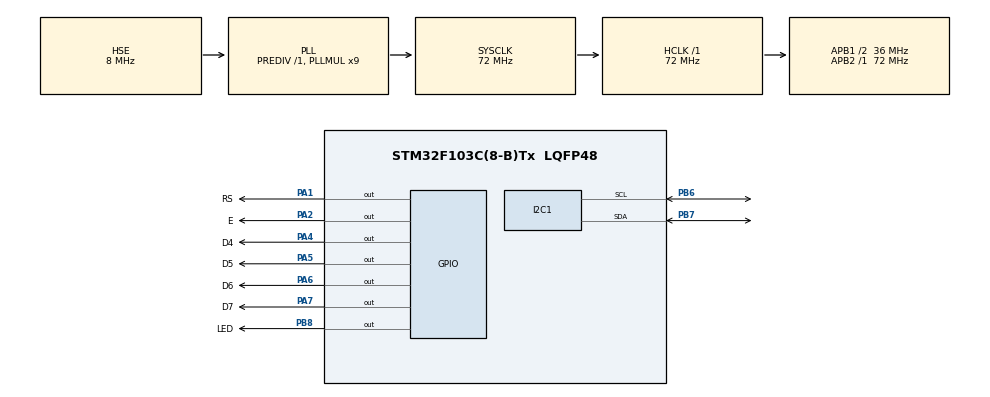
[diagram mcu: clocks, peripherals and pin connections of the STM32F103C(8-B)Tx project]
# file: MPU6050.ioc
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I2C1.I2C_Mode=I2C_Fast
Mcu.Family=STM32F1
Mcu.Name=STM32F103C(8-B)Tx
Mcu.Package=LQFP48
NVIC.PriorityGroup=NVIC_PRIORITYGROUP_4
PA1.GPIO_Label=RS
PA1.Signal=GPIO_Output
PA13.Mode=Serial_Wire
PA13.Signal=SYS_JTMS-SWDIO
PA14.Mode=Serial_Wire
PA14.Signal=SYS_JTCK-SWCLK
PA2.GPIO_Label=E
PA2.Signal=GPIO_Output
PA4.GPIO_Label=D4
PA4.Signal=GPIO_Output
PA5.GPIO_Label=D5
PA5.Signal=GPIO_Output
PA6.GPIO_Label=D6
PA6.Signal=GPIO_Output
PA7.GPIO_Label=D7
PA7.Signal=GPIO_Output
PB6.Mode=I2C
PB6.Signal=I2C1_SCL
PB7.Mode=I2C
PB7.Signal=I2C1_SDA
PB8.GPIO_Label=LED
PB8.Signal=GPIO_Output
PD0-OSC_IN.Mode=HSE-External-Oscillator
PD0-OSC_IN.Signal=RCC_OSC_IN
PD1-OSC_OUT.Mode=HSE-External-Oscillator
PD1-OSC_OUT.Signal=RCC_OSC_OUT
ProjectManager.HeapSize=0x200
ProjectManager.StackSize=0x400
ProjectManager.TargetToolchain=MDK-ARM V5
RCC.AHBFreq_Value=72000000
RCC.APB1CLKDivider=RCC_HCLK_DIV2
RCC.APB1Freq_Value=36000000
RCC.APB1TimFreq_Value=72000000
RCC.APB2Freq_Value=72000000
RCC.APB2TimFreq_Value=72000000
RCC.HCLKFreq_Value=72000000
RCC.PLLMUL=RCC_PLL_MUL9
RCC.PLLSourceVirtual=RCC_PLLSOURCE_HSE
RCC.SYSCLKFreq_VALUE=72000000
RCC.SYSCLKSource=RCC_SYSCLKSOURCE_PLLCLK
RCC.USBFreq_Value=72000000
board=MPU6050

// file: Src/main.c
/**
  ******************************************************************************
  * File Name          : main.c
  * Description        : Main program body
  ******************************************************************************
  ** This notice applies to any and all portions of this file
  * that are not between comment pairs USER CODE BEGIN and
  * USER CODE END. Other portions of this file, whether
  * inserted by the user or by software development tools
  * are owned by their respective copyright owners.
  *
  * COPYRIGHT(c) 2018 STMicroelectronics
  *
  * Redistribution and use in source and binary forms, with or without modification,
  * are permitted provided that the following conditions are met:
  *   1. Redistributions of source code must retain the above copyright notice,
  *      this list of conditions and the following disclaimer.
  *   2. Redistributions in binary form must reproduce the above copyright notice,
  *      this list of conditions and the following disclaimer in the documentation
  *      and/or other materials provided with the distribution.
  *   3. Neither the name of STMicroelectronics nor the names of its contributors
  *      may be used to endorse or promote products derived from this software
  *      without specific prior written permission.
  *
  * THIS SOFTWARE IS PROVIDED BY THE COPYRIGHT HOLDERS AND CONTRIBUTORS "AS IS"
  * AND ANY EXPRESS OR IMPLIED WARRANTIES, INCLUDING, BUT NOT LIMITED TO, THE
  * IMPLIED WARRANTIES OF MERCHANTABILITY AND FITNESS FOR A PARTICULAR PURPOSE ARE
  * DISCLAIMED. IN NO EVENT SHALL THE COPYRIGHT HOLDER OR CONTRIBUTORS BE LIABLE
  * FOR ANY DIRECT, INDIRECT, INCIDENTAL, SPECIAL, EXEMPLARY, OR CONSEQUENTIAL
  * DAMAGES (INCLUDING, BUT NOT LIMITED TO, PROCUREMENT OF SUBSTITUTE GOODS OR
  * SERVICES; LOSS OF USE, DATA, OR PROFITS; OR BUSINESS INTERRUPTION) HOWEVER
  * CAUSED AND ON ANY THEORY OF LIABILITY, WHETHER IN CONTRACT, STRICT LIABILITY,
  * OR TORT (INCLUDING NEGLIGENCE OR OTHERWISE) ARISING IN ANY WAY OUT OF THE USE
  * OF THIS SOFTWARE, EVEN IF ADVISED OF THE POSSIBILITY OF SUCH DAMAGE.
  *
  ******************************************************************************
  */
#include "main.h"
#include "stm32f1xx_hal.h"

/* USER CODE BEGIN Includes */
#include "STM_MY_LCD16X2.h"
#include "stdio.h"
#include "math.h"
#include "float.h"
/* USER CODE END Includes */

I2C_HandleTypeDef hi2c1;

/* USER CODE BEGIN PV */
/* Private variables ---------------------------------------------------------*/
#define RS 1
#define E 2

#define D4 4
#define D5 5
#define D6 6
#define D7 7

unsigned char buffer[6]; // I2C buffer
volatile long millis = 0; // Variable used in interrupt has to be volatile
unsigned long micros = 0,loop_timer=0 ;
int16_t gyro_x, gyro_y, gyro_z;
uint8_t lcd_loop_counter;
int16_t  angle_pitch_buffer,angle_roll_buffer;
int16_t acc_x, acc_y, acc_z, acc_total_vector;
int32_t gyro_x_cal=0,gyro_y_cal=0,gyro_z_cal=0; // gyro calibration value
float angle_pitch, angle_roll, angle_pitch_acc,angle_roll_acc;
float angle_pitch_output,angle_roll_output;
bool set_gyro_angles = false;
char res[20];
/* USER CODE END PV */

void SystemClock_Config(void);
static void MX_GPIO_Init(void);
static void MX_I2C1_Init(void);

/* USER CODE BEGIN PFP */
void write_LCD();
void read_MPU_6050_data();
unsigned long micro();
void delay_us(unsigned long nTime);
/* Private function prototypes -----------------------------------------------*/

/* USER CODE END PFP */

int main(void)
{

  /* USER CODE BEGIN 1 */
	 unsigned short int i;
  /* USER CODE END 1 */

  /* MCU Configuration----------------------------------------------------------*/

  /* Reset of all peripherals, Initializes the Flash interface and the Systick. */
  HAL_Init();

  /* Configure the system clock */
  SystemClock_Config();

  /* Initialize all configured peripherals */
  MX_GPIO_Init();
  MX_I2C1_Init();

  /* USER CODE BEGIN 2 */
  LCD_begin4BIT(GPIOA,RS,E,GPIOA,D4,D5,D6,D7);
	// Start setup MPU-6050 register
	// Activate MPU-6050
  buffer[0] = 0x6B; // Send request to the register you want to access
	buffer[1] = 0x00; // Set the requested register
	HAL_I2C_Master_Transmit(&hi2c1,0x68<<1,buffer,2,100);
	// Configure gyro(500dps full scale)
	buffer[0] = 0x1B;  // Send request to the register you want to access
	buffer[1] = 0x08;  // Set the requested register
	HAL_I2C_Master_Transmit(&hi2c1,0x68<<1,buffer,2,100);
	// Configure accelerometer(+/- 8g)
	buffer[0] = 0x1C;  // Send request to the register you want to access
	buffer[1] = 0x10;  // Set the requested register
	HAL_I2C_Master_Transmit(&hi2c1,0x68<<1,buffer,2,100);
	// Finish setup MPU-6050 register

	// Print on LCD
  LCD_setCursor(1,1);
	LCD_print("   MPU6050   ");
	HAL_Delay(1500);
	LCD_clear();
	LCD_setCursor(1,1);
	LCD_print("Cal MPU-6050");
	LCD_setCursor(2,1);

	// Calculate gyro standstill value
	for(i=0; i<2000 ; ++i)
	{
		if(i%125 == 0)
		{
			LCD_print(".");
		}
		read_MPU_6050_data();
		gyro_x_cal += gyro_x;
		gyro_y_cal += gyro_y;
		gyro_z_cal += gyro_z;
		HAL_Delay(3);
	}
	gyro_x_cal /= 2000;
	gyro_y_cal /= 2000;
	gyro_z_cal /= 2000;

	LCD_clear();
	LCD_setCursor(1,1);
	LCD_print("Pitch:");
	LCD_setCursor(2,1);
	LCD_print("Roll:");
	millis = 0;
	loop_timer = micro();
  /* USER CODE END 2 */

  /* Infinite loop */
  while (1)
  {

  /* USER CODE BEGIN 3 */

		read_MPU_6050_data(); // Read gyro and accelerometer data

		gyro_x -= gyro_x_cal;
		gyro_y -= gyro_y_cal;
		gyro_z -= gyro_z_cal;

		//Gyro angle calculations
		//0.0000611 = 1 / (250Hz / 65.5)
		angle_pitch += gyro_x * 0.0000611;                                   //Calculate the traveled pitch angle and add this to the angle_pitch variable
		angle_roll += gyro_y * 0.0000611;                                    //Calculate the traveled roll angle and add this to the angle_roll variable

		//0.000001066 = 0.0000611 * (3.142(PI) / 180degr) radians
		angle_pitch += angle_roll * sin(gyro_z * 0.000001066);               //If the IMU has yawed transfer the roll angle to the pitch angel
		angle_roll -= angle_pitch * sin(gyro_z * 0.000001066);               //If the IMU has yawed transfer the pitch angle to the roll angel

		//Accelerometer angle calculations
		acc_total_vector = sqrt((acc_x*acc_x)+(acc_y*acc_y)+(acc_z*acc_z));  //Calculate the total accelerometer vector
		//57.296 = 1 / (3.142 / 180) radians
		angle_pitch_acc = asin((float)acc_y/acc_total_vector)* 57.296;       //Calculate the pitch angle
		angle_roll_acc = asin((float)acc_x/acc_total_vector)* -57.296;       //Calculate the roll angle

		//Place the MPU-6050 spirit level and note the values in the following two lines for calibration
		angle_pitch_acc += 1.5;                                              //Accelerometer calibration value for pitch
		angle_roll_acc += 7.0;                                               //Accelerometer calibration value for roll

		if(set_gyro_angles){                                                 //If the IMU is already started
			angle_pitch = angle_pitch * 0.9996 + angle_pitch_acc * 0.0004;     //Correct the drift of the gyro pitch angle with the accelerometer pitch angle
			angle_roll = angle_roll * 0.9996 + angle_roll_acc * 0.0004;        //Correct the drift of the gyro roll angle with the accelerometer roll angle
		}
		else{                                                                //At first start
			angle_pitch = angle_pitch_acc;                                     //Set the gyro pitch angle equal to the accelerometer pitch angle
			angle_roll = angle_roll_acc;                                       //Set the gyro roll angle equal to the accelerometer roll angle
			set_gyro_angles = true;                                            //Set the IMU started flag
		}

		angle_pitch_output = angle_pitch;
		angle_roll_output = angle_roll;

		write_LCD();                                                         //Write the roll and pitch values to the LCD display

		while((micro()- loop_timer) < 4000); // Make sure the loop is in 250Hz or 4ms.
		millis = 0; // Reset millis
		loop_timer = micro();

  }
  /* USER CODE END 3 */

}

/** System Clock Configuration
*/
void SystemClock_Config(void)
{

  RCC_OscInitTypeDef RCC_OscInitStruct;
  RCC_ClkInitTypeDef RCC_ClkInitStruct;

    /**Initializes the CPU, AHB and APB busses clocks
    */
  RCC_OscInitStruct.OscillatorType = RCC_OSCILLATORTYPE_HSE;
  RCC_OscInitStruct.HSEState = RCC_HSE_ON;
  RCC_OscInitStruct.HSEPredivValue = RCC_HSE_PREDIV_DIV1;
  RCC_OscInitStruct.HSIState = RCC_HSI_ON;
  RCC_OscInitStruct.PLL.PLLState = RCC_PLL_ON;
  RCC_OscInitStruct.PLL.PLLSource = RCC_PLLSOURCE_HSE;
  RCC_OscInitStruct.PLL.PLLMUL = RCC_PLL_MUL9;
  if (HAL_RCC_OscConfig(&RCC_OscInitStruct) != HAL_OK)
  {
    _Error_Handler(__FILE__, __LINE__);
  }

    /**Initializes the CPU, AHB and APB busses clocks
    */
  RCC_ClkInitStruct.ClockType = RCC_CLOCKTYPE_HCLK|RCC_CLOCKTYPE_SYSCLK
                              |RCC_CLOCKTYPE_PCLK1|RCC_CLOCKTYPE_PCLK2;
  RCC_ClkInitStruct.SYSCLKSource = RCC_SYSCLKSOURCE_PLLCLK;
  RCC_ClkInitStruct.AHBCLKDivider = RCC_SYSCLK_DIV1;
  RCC_ClkInitStruct.APB1CLKDivider = RCC_HCLK_DIV2;
  RCC_ClkInitStruct.APB2CLKDivider = RCC_HCLK_DIV1;

  if (HAL_RCC_ClockConfig(&RCC_ClkInitStruct, FLASH_LATENCY_2) != HAL_OK)
  {
    _Error_Handler(__FILE__, __LINE__);
  }

    /**Configure the Systick interrupt time
    */
  HAL_SYSTICK_Config(HAL_RCC_GetHCLKFreq()/1000);

    /**Configure the Systick
    */
  HAL_SYSTICK_CLKSourceConfig(SYSTICK_CLKSOURCE_HCLK);

  /* SysTick_IRQn interrupt configuration */
  HAL_NVIC_SetPriority(SysTick_IRQn, 0, 0);
}

/* I2C1 init function */
static void MX_I2C1_Init(void)
{

  hi2c1.Instance = I2C1;
  hi2c1.Init.ClockSpeed = 400000;
  hi2c1.Init.DutyCycle = I2C_DUTYCYCLE_2;
  hi2c1.Init.OwnAddress1 = 0;
  hi2c1.Init.AddressingMode = I2C_ADDRESSINGMODE_7BIT;
  hi2c1.Init.DualAddressMode = I2C_DUALADDRESS_DISABLE;
  hi2c1.Init.OwnAddress2 = 0;
  hi2c1.Init.GeneralCallMode = I2C_GENERALCALL_DISABLE;
  hi2c1.Init.NoStretchMode = I2C_NOSTRETCH_DISABLE;
  if (HAL_I2C_Init(&hi2c1) != HAL_OK)
  {
    _Error_Handler(__FILE__, __LINE__);
  }

}

/** Configure pins as
        * Analog
        * Input
        * Output
        * EVENT_OUT
        * EXTI
*/
static void MX_GPIO_Init(void)
{

  GPIO_InitTypeDef GPIO_InitStruct;

  /* GPIO Ports Clock Enable */
  __HAL_RCC_GPIOD_CLK_ENABLE();
  __HAL_RCC_GPIOA_CLK_ENABLE();
  __HAL_RCC_GPIOB_CLK_ENABLE();

  /*Configure GPIO pin Output Level */
  HAL_GPIO_WritePin(GPIOA, RS_Pin|E_Pin|D4_Pin|D5_Pin
                          |D6_Pin|D7_Pin, GPIO_PIN_RESET);

  /*Configure GPIO pin Output Level */
  HAL_GPIO_WritePin(LED_GPIO_Port, LED_Pin, GPIO_PIN_RESET);

  /*Configure GPIO pins : RS_Pin E_Pin D4_Pin D5_Pin
                           D6_Pin D7_Pin */
  GPIO_InitStruct.Pin = RS_Pin|E_Pin|D4_Pin|D5_Pin
                          |D6_Pin|D7_Pin;
  GPIO_InitStruct.Mode = GPIO_MODE_OUTPUT_PP;
  GPIO_InitStruct.Speed = GPIO_SPEED_FREQ_LOW;
  HAL_GPIO_Init(GPIOA, &GPIO_InitStruct);

  /*Configure GPIO pin : LED_Pin */
  GPIO_InitStruct.Pin = LED_Pin;
  GPIO_InitStruct.Mode = GPIO_MODE_OUTPUT_PP;
  GPIO_InitStruct.Speed = GPIO_SPEED_FREQ_LOW;
  HAL_GPIO_Init(LED_GPIO_Port, &GPIO_InitStruct);

}

/* USER CODE BEGIN 4 */

void print(int value)
{
	 LCD_ftoa(value,res,0);
	 LCD_print(res);
}

void write_LCD(){                                                      //Subroutine for writing the LCD
  //To get a 250Hz program loop (4ms) it's only possible to write one character per loop
  //Writing multiple characters is taking to much time
  if(lcd_loop_counter == 14)lcd_loop_counter = 0;                      //Reset the counter after 14 characters
  lcd_loop_counter++;                                                 //Increase the counter
  if(lcd_loop_counter == 1){
    angle_pitch_buffer = angle_pitch_output * 10;                      //Buffer the pitch angle because it will change
    LCD_setCursor(1,7);                                                //Set the LCD cursor to position to position 0,0
  }
  if(lcd_loop_counter == 2){
    if(angle_pitch_buffer < 0)LCD_print("-");                          //Print - if value is negative
    else LCD_print("+");                                               //Print + if value is negative
  }
  if(lcd_loop_counter == 3)print(abs(angle_pitch_buffer)/1000);    //Print first number
  if(lcd_loop_counter == 4)print((abs(angle_pitch_buffer)/100)%10);//Print second number
  if(lcd_loop_counter == 5)print((abs(angle_pitch_buffer)/10)%10); //Print third number
  if(lcd_loop_counter == 6)LCD_print(".");                             //Print decimal point
  if(lcd_loop_counter == 7)print(abs(angle_pitch_buffer)%10);      //Print decimal number

  if(lcd_loop_counter == 8){
    angle_roll_buffer = angle_roll_output * 10 ;
    LCD_setCursor(2,7);
  }
  if(lcd_loop_counter == 9){
    if(angle_roll_buffer < 0)LCD_print("-");                           //Print - if value is negative
    else LCD_print("+");                                               //Print + if value is negative
  }
  if(lcd_loop_counter == 10)print(abs(angle_roll_buffer)/1000);    //Print first number
  if(lcd_loop_counter == 11)print((abs(angle_roll_buffer)/100)%10);//Print second number
  if(lcd_loop_counter == 12)print((abs(angle_roll_buffer)/10)%10); //Print third number
  if(lcd_loop_counter == 13)LCD_print(".");                            //Print decimal point
  if(lcd_loop_counter == 14)print(abs(angle_roll_buffer)%10);      //Print decimal number
}
// To create micro second delay
unsigned long micro()
{
	micros =  millis*1000 + 1000 - SysTick->VAL/72;
	return micros;
}
void read_MPU_6050_data()
{
	buffer[0] = 0x3B;//0x3B
	HAL_I2C_Master_Transmit(&hi2c1,0x68<<1,buffer,1,100);
	HAL_I2C_Master_Receive(&hi2c1,0x68<<1,buffer,6,100);

	acc_x = buffer[0]<<8 | buffer[1];
	acc_y = buffer[2]<<8 | buffer[3];
	acc_z = buffer[4]<<8 | buffer[5];

	buffer[0] = 0x43;//0x43
	HAL_I2C_Master_Transmit(&hi2c1,0x68<<1,buffer,1,100);
	HAL_I2C_Master_Receive(&hi2c1,0x68<<1,buffer,6,100);

	gyro_x = buffer[0]<<8 | buffer[1];
	gyro_y = buffer[2]<<8 | buffer[3];
	gyro_z = buffer[4]<<8 | buffer[5];
}
void SysTick_Handler(void)
{
  /* USER CODE BEGIN SysTick_IRQn 0 */
	millis++;
  /* USER CODE END SysTick_IRQn 0 */
  HAL_IncTick();
  HAL_SYSTICK_IRQHandler();
  /* USER CODE BEGIN SysTick_IRQn 1 */

  /* USER CODE END SysTick_IRQn 1 */
}

/* USER CODE END 4 */

void _Error_Handler(char * file, int line)
{
  while(1)
  {
  }
}

/************************ (C) COPYRIGHT STMicroelectronics *****END OF FILE****/
